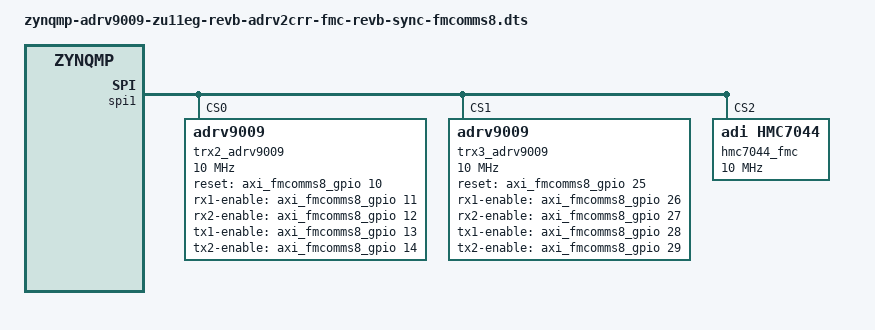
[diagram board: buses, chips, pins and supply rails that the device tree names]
// SPDX-License-Identifier: GPL-2.0
/*
 * Analog Devices ADRV2CRR-FMC using ADRV9009-ZU11EG System on Module + AD-FMCOMMS8-EBZ
 * https://wiki.analog.com/resources/eval/user-guides/adrv9009-zu11eg/adrv2crr-fmc_carrier_board
 * https://wiki.analog.com/resources/eval/user-guides/ad-fmcomms8-ebz
 * https://wiki.analog.com/resources/tools-software/linux-drivers/iio-transceiver/adrv9009
 * https://wiki.analog.com/resources/tools-software/linux-software/adrv9009_advanced_plugin
 *
 * hdl_project: <adrv9009zu11eg/adrv2crr_fmcomms8>
 * board_revision: <>
 *
 * Copyright (C) 2020 Analog Devices Inc.
 */
#include "zynqmp-adrv9009-zu11eg-revb-adrv2crr-fmc-revb-sync.dts"

&trx0_adrv9009 {
	compatible = "adrv9009-x4";
};

&axi_adrv9009_core_tx {
	compatible = "adi,axi-adrv9009-x4-tx-1.0";
};

&axi_adrv9009_adxcvr_rx {
	clocks = <&hmc7044_fmc 5>, <&hmc7044 7>;
};

&axi_adrv9009_adxcvr_rx_os {
	clocks = <&hmc7044_fmc 4>, <&hmc7044 6>;
};

&axi_adrv9009_adxcvr_tx {
	clocks = <&hmc7044_fmc 4>, <&hmc7044 6>;
};

&rx_dma_channel {
	adi,source-bus-width = <256>;
	adi,destination-bus-width = <256>;
};

&rx_obs_dma_channel {
	adi,source-bus-width = <256>;
	adi,destination-bus-width = <256>;
};

&tx_dma_channel {
	adi,source-bus-width = <256>;
};

&axi_adrv9009_tx_jesd {
	adi,converter-resolution = <16>;
	adi,converters-per-device = <16>;
	adi,control-bits-per-sample = <0>;
};

&hmc7044_fmc_car {
	hmc7044_fmc_car_c6: channel@6 {
		reg = <6>;
		adi,extended-name = "SYNC_OUT2";
		adi,divider = <3840>;   // 768000
		adi,driver-mode = <3>;
		adi,startup-mode-dynamic-enable;
		adi,high-performance-mode-disable;
		adi,driver-impedance-mode = <3>;
	};

	hmc7044_fmc_car_c8: channel@8 {
		reg = <8>;
		adi,extended-name = "REFCLK_OUT3";
		adi,divider = <24>;     // 12288000
		adi,driver-mode = <HMC7044_DRIVER_MODE_LVPECL>;
	};

	hmc7044_fmc_car_c9: channel@9 {
		reg = <9>;
		adi,extended-name = "REFCLK_OUT4";
		adi,divider = <96>;	// 3072000
		adi,driver-mode = <HMC7044_DRIVER_MODE_LVPECL>;
	};
};

&fpga_axi {
	axi_fmcomms8_gpio: gpio@86000000 {
		#gpio-cells = <2>;
		#interrupt-cells = <2>;
		clock-names = "s_axi_aclk";
		clocks = <&zynqmp_clk 71>;
		compatible = "xlnx,axi-gpio-2.0", "xlnx,xps-gpio-1.00.a";
		gpio-controller;
		interrupt-controller;
		interrupt-names = "ip2intc_irpt";
		interrupt-parent = <&gic>;
		interrupts = <0 93 4>;
		reg = <0x0 0x86000000 0x1000>;
		xlnx,all-inputs = <0x0>;
		xlnx,all-inputs-2 = <0x0>;
		xlnx,all-outputs = <0x0>;
		xlnx,all-outputs-2 = <0x0>;
		xlnx,dout-default = <0x00000000>;
		xlnx,dout-default-2 = <0x00000000>;
		xlnx,gpio-width = <0x20>;
		xlnx,gpio2-width = <0x20>;
		xlnx,interrupt-present = <0x1>;
		xlnx,is-dual = <0x1>;
		xlnx,tri-default = <0xFFFFFFFF>;
		xlnx,tri-default-2 = <0xFFFFFFFF>;
	};
};

&spi1 {
	status = "okay";
	num-cs = <8>;
	is-decoded-cs = <1>;

	trx2_adrv9009: adrv9009-phy-c@0 {
		compatible = "adrv9009";
		reg = <0>;

		#address-cells = <1>;
		#size-cells = <0>;

		/* SPI Setup */
		spi-max-frequency = <10000000>;
#if 0
		interrupt-parent = <&axi_fmcomms8_gpio>;
		interrupts = <9 1>;
#endif
		reset-gpios = <&axi_fmcomms8_gpio 10 0>;
		rx1-enable-gpios = <&axi_fmcomms8_gpio 11 0>;
		rx2-enable-gpios = <&axi_fmcomms8_gpio 12 0>;
		tx1-enable-gpios = <&axi_fmcomms8_gpio 13 0>;
		tx2-enable-gpios = <&axi_fmcomms8_gpio 14 0>;

		/* Clocks */
		clocks = <&axi_adrv9009_rx_jesd>, <&axi_adrv9009_tx_jesd>,
			<&axi_adrv9009_rx_os_jesd>, <&hmc7044_fmc 0>,
			<&hmc7044_fmc 5>, <&hmc7044_fmc 1>, <&hmc7044_fmc 8>,
			<&hmc7044_fmc 4>;

		clock-names = "jesd_rx_clk", "jesd_tx_clk", "jesd_rx_os_clk",
			"dev_clk", "fmc_clk", "sysref_dev_clk",
			"sysref_fmc_clk", "fmc2_clk";


		clock-output-names = "rx_sampl_clk", "rx_os_sampl_clk", "tx_sampl_clk";
		#clock-cells = <1>;

		/* JESD204 */

		/* JESD204 RX */
		adi,jesd204-framer-a-bank-id = <1>;
		adi,jesd204-framer-a-device-id = <0>;
		adi,jesd204-framer-a-lane0-id = <0>;
		adi,jesd204-framer-a-m = <4>;
		adi,jesd204-framer-a-k = <32>;
		adi,jesd204-framer-a-f = <4>;
		adi,jesd204-framer-a-np = <16>;
		adi,jesd204-framer-a-scramble = <1>;
		adi,jesd204-framer-a-external-sysref = <1>;
		adi,jesd204-framer-a-serializer-lanes-enabled = <0x03>;
		adi,jesd204-framer-a-serializer-lane-crossbar = <0xE4>;
		adi,jesd204-framer-a-lmfc-offset = <15>;
		adi,jesd204-framer-a-new-sysref-on-relink = <0>;
		adi,jesd204-framer-a-syncb-in-select = <0>;
		adi,jesd204-framer-a-over-sample = <0>;
		adi,jesd204-framer-a-syncb-in-lvds-mode = <1>;
		adi,jesd204-framer-a-syncb-in-lvds-pn-invert = <0>;
		adi,jesd204-framer-a-enable-manual-lane-xbar = <0>;

		/* JESD204 OBS */
		adi,jesd204-framer-b-bank-id = <0>;
		adi,jesd204-framer-b-device-id = <0>;
		adi,jesd204-framer-b-lane0-id = <0>;
		adi,jesd204-framer-b-m = <2>;
		adi,jesd204-framer-b-k = <32>;
		adi,jesd204-framer-b-f = <4>;
		adi,jesd204-framer-b-np = <16>;
		adi,jesd204-framer-b-scramble = <1>;
		adi,jesd204-framer-b-external-sysref = <1>;
		adi,jesd204-framer-b-serializer-lanes-enabled = <0x0C>;
		adi,jesd204-framer-b-serializer-lane-crossbar = <0xE4>;
		adi,jesd204-framer-b-lmfc-offset = <15>;
		adi,jesd204-framer-b-new-sysref-on-relink = <0>;
		adi,jesd204-framer-b-syncb-in-select = <1>;
		adi,jesd204-framer-b-over-sample = <0>;
		adi,jesd204-framer-b-syncb-in-lvds-mode = <1>;
		adi,jesd204-framer-b-syncb-in-lvds-pn-invert = <0>;
		adi,jesd204-framer-b-enable-manual-lane-xbar = <0>;

		/* JESD204 TX */
		adi,jesd204-deframer-a-bank-id = <0>;
		adi,jesd204-deframer-a-device-id = <0>;
		adi,jesd204-deframer-a-lane0-id = <0>;
		adi,jesd204-deframer-a-m = <4>;
		adi,jesd204-deframer-a-k = <32>;
		adi,jesd204-deframer-a-scramble = <1>;
		adi,jesd204-deframer-a-external-sysref = <1>;
		adi,jesd204-deframer-a-deserializer-lanes-enabled = <0x0F>;
		adi,jesd204-deframer-a-deserializer-lane-crossbar = <0xE4>;
		adi,jesd204-deframer-a-lmfc-offset = <1>;
		adi,jesd204-deframer-a-new-sysref-on-relink = <0>;
		adi,jesd204-deframer-a-syncb-out-select = <0>;
		adi,jesd204-deframer-a-np = <16>;
		adi,jesd204-deframer-a-syncb-out-lvds-mode = <1>;
		adi,jesd204-deframer-a-syncb-out-lvds-pn-invert = <0>;
		adi,jesd204-deframer-a-syncb-out-cmos-slew-rate = <0>;
		adi,jesd204-deframer-a-syncb-out-cmos-drive-level = <0>;
		adi,jesd204-deframer-a-enable-manual-lane-xbar = <0>;

		adi,jesd204-ser-amplitude = <15>;
		adi,jesd204-ser-pre-emphasis = <1>;
		adi,jesd204-ser-invert-lane-polarity = <0>;
		adi,jesd204-des-invert-lane-polarity = <0>;
		adi,jesd204-des-eq-setting = <1>;
		adi,jesd204-sysref-lvds-mode = <1>;
		adi,jesd204-sysref-lvds-pn-invert = <0>;

		/* RX */

		adi,rx-profile-rx-fir-gain_db = <(-6)>;
		adi,rx-profile-rx-fir-num-fir-coefs = <48>;
		adi,rx-profile-rx-fir-coefs = /bits/ 16 <(-8) (-22) (32) (50) (-68) (-106) (141) (199) (-258) (-352) (430) (572) (-691) (-903) (1069) (1392) (-1644) (-2172) (2569) (3574) (-4364) (-7129) (9355) (31095) (31095) (9355) (-7129) (-4364) (3574) (2569) (-2172) (-1644) (1392) (1069) (-903) (-691) (572) (430) (-352) (-258) (199) (141) (-106) (-68) (50) (32) (-22) (-8)>;

		adi,rx-profile-rx-fir-decimation = <2>;
		adi,rx-profile-rx-dec5-decimation = <4>;
		adi,rx-profile-rhb1-decimation = <2>;
		adi,rx-profile-rx-output-rate_khz = <122880>;
		adi,rx-profile-rf-bandwidth_hz = <100000000>;
		adi,rx-profile-rx-bbf3d-bcorner_khz = <100000>;
		adi,rx-profile-rx-adc-profile = /bits/ 16 <265 146 181 90 1280 366 1257 27 1258 17 718 39 48 46 27 161 0 0 0 0 40 0 7 6 42 0 7 6 42 0 25 27 0 0 25 27 0 0 165 44 31 905>;
		adi,rx-profile-rx-ddc-mode = <0>;

		adi,rx-nco-shifter-band-a-input-band-width_khz = <0>;
		adi,rx-nco-shifter-band-a-input-center-freq_khz = <0>;
		adi,rx-nco-shifter-band-a-nco1-freq_khz = <0>;
		adi,rx-nco-shifter-band-a-nco2-freq_khz = <0>;
		adi,rx-nco-shifter-band-binput-band-width_khz = <0>;
		adi,rx-nco-shifter-band-binput-center-freq_khz = <0>;
		adi,rx-nco-shifter-band-bnco1-freq_khz = <0>;
		adi,rx-nco-shifter-band-bnco2-freq_khz = <0>;

		adi,rx-gain-control-gain-mode = <0>;
		adi,rx-gain-control-rx1-gain-index = <255>;
		adi,rx-gain-control-rx2-gain-index = <255>;
		adi,rx-gain-control-rx1-max-gain-index = <255>;
		adi,rx-gain-control-rx1-min-gain-index = <195>;
		adi,rx-gain-control-rx2-max-gain-index = <255>;
		adi,rx-gain-control-rx2-min-gain-index = <195>;

		adi,rx-settings-framer-sel = <0>;
		adi,rx-settings-rx-channels = <3>;

		/* ORX */

		adi,orx-profile-rx-fir-gain_db = <(-6)>;
		adi,orx-profile-rx-fir-num-fir-coefs = <48>;
		adi,orx-profile-rx-fir-coefs = /bits/ 16  <(-9) (-18) (31) (42) (-65) (-89) (132) (168) (-240) (-298) (396) (486) (-632) (-770) (968) (1163) (-1530) (-1862) (2369) (3051) (-4066) (-5983) (9689) (29830) (29830) (9689) (-5983) (-4066) (3051) (2369) (-1862) (-1530) (1163) (968) (-770) (-632) (486) (396) (-298) (-240) (168) (132) (-89) (-65) (42) (31) (-18) (-9)>;
		adi,orx-profile-rx-fir-decimation = <2>;
		adi,orx-profile-rx-dec5-decimation = <4>;
		adi,orx-profile-rhb1-decimation = <2>;
		adi,orx-profile-orx-output-rate_khz = <122880>;
		adi,orx-profile-rf-bandwidth_hz = <100000000>;
		adi,orx-profile-rx-bbf3d-bcorner_khz = <225000>;
		adi,orx-profile-orx-low-pass-adc-profile = /bits/ 16  <265 146 181 90 1280 366 1257 27 1258 17 718 39 48 46 27 161 0 0 0 0 40 0 7 6 42 0 7 6 42 0 25 27 0 0 25 27 0 0 165 44 31 905>;
		adi,orx-profile-orx-band-pass-adc-profile = /bits/ 16  <265 146 181 90 1280 366 1257 27 1258 17 718 39 48 46 27 161 0 0 0 0 40 0 7 6 42 0 7 6 42 0 25 27 0 0 25 27 0 0 165 44 31 905>;
		adi,orx-profile-orx-ddc-mode = <0>;
		adi,orx-profile-orx-merge-filter = /bits/ 16  <0 0 0 0 0 0 0 0 0 0 0 0>;

		adi,orx-gain-control-gain-mode = <0>;
		adi,orx-gain-control-orx1-gain-index = <255>;
		adi,orx-gain-control-orx2-gain-index = <255>;
		adi,orx-gain-control-orx1-max-gain-index = <255>;
		adi,orx-gain-control-orx1-min-gain-index = <195>;
		adi,orx-gain-control-orx2-max-gain-index = <255>;
		adi,orx-gain-control-orx2-min-gain-index = <195>;

		adi,obs-settings-framer-sel = <1>;
		adi,obs-settings-obs-rx-channels-enable = <3>;
		adi,obs-settings-obs-rx-lo-source = <0>;

		/* TX */

		adi,tx-profile-tx-fir-gain_db = <6>;
		adi,tx-profile-tx-fir-num-fir-coefs = <80>;
		adi,tx-profile-tx-fir-coefs = /bits/ 16  <(0) (0) (0) (1) (0) (-3) (1) (7) (-3) (-13) (7) (25) (-14) (-42) (27) (69) (-46) (-107) (74) (160) (-115) (-229) (184) (336) (-264) (-468) (382) (653) (-538) (-904) (754) (1269) (-1056) (-1842) (1486) (2879) (-2031) (-4846) (3816) (16221) (16221) (3816) (-4846) (-2031) (2879) (1486) (-1842) (-1056) (1269) (754) (-904) (-538) (653) (382) (-468) (-264) (336) (184) (-229) (-115) (160) (74) (-107) (-46) (69) (27) (-42) (-14) (25) (7) (-13) (-3) (7) (1) (-3) (0) (1) (0) (0) (0)>;

		adi,tx-profile-dac-div = <1>;

		adi,tx-profile-tx-fir-interpolation = <2>;
		adi,tx-profile-thb1-interpolation = <2>;
		adi,tx-profile-thb2-interpolation = <2>;
		adi,tx-profile-thb3-interpolation = <2>;
		adi,tx-profile-tx-int5-interpolation = <1>;
		adi,tx-profile-tx-input-rate_khz = <122880>;
		adi,tx-profile-primary-sig-bandwidth_hz = <50000000>;
		adi,tx-profile-rf-bandwidth_hz = <100000000>;
		adi,tx-profile-tx-dac3d-bcorner_khz = <187000>;
		adi,tx-profile-tx-bbf3d-bcorner_khz = <56000>;
		adi,tx-profile-loop-back-adc-profile = /bits/ 16 <265 146 181 90 1280 366 1257 27 1258 17 718 39 48 46 27 161 0 0 0 0 40 0 7 6 42 0 7 6 42 0 25 27 0 0 25 27 0 0 165 44 31 905>;

		adi,tx-settings-deframer-sel = <0>;
		adi,tx-settings-tx-channels = <3>;
		adi,tx-settings-tx-atten-step-size = <0>;
		adi,tx-settings-tx1-atten_md-b = <10000>;
		adi,tx-settings-tx2-atten_md-b = <10000>;
		adi,tx-settings-dis-tx-data-if-pll-unlock = <0>;

		/* Clocks */

		adi,dig-clocks-device-clock_khz = <245760>;
		adi,dig-clocks-clk-pll-vco-freq_khz = <9830400>;
		adi,dig-clocks-clk-pll-hs-div = <1>;
		adi,dig-clocks-rf-pll-use-external-lo = <0>;
		adi,dig-clocks-rf-pll-phase-sync-mode = <0>;

		/* AGC */

		adi,rxagc-peak-agc-under-range-low-interval_ns = <205>;
		adi,rxagc-peak-agc-under-range-mid-interval = <2>;
		adi,rxagc-peak-agc-under-range-high-interval = <4>;
		adi,rxagc-peak-apd-high-thresh = <39>;
		adi,rxagc-peak-apd-low-gain-mode-high-thresh = <36>;
		adi,rxagc-peak-apd-low-thresh = <23>;
		adi,rxagc-peak-apd-low-gain-mode-low-thresh = <19>;
		adi,rxagc-peak-apd-upper-thresh-peak-exceeded-cnt = <6>;
		adi,rxagc-peak-apd-lower-thresh-peak-exceeded-cnt = <3>;
		adi,rxagc-peak-apd-gain-step-attack = <4>;
		adi,rxagc-peak-apd-gain-step-recovery = <2>;
		adi,rxagc-peak-enable-hb2-overload = <1>;
		adi,rxagc-peak-hb2-overload-duration-cnt = <1>;
		adi,rxagc-peak-hb2-overload-thresh-cnt = <4>;
		adi,rxagc-peak-hb2-high-thresh = <181>;
		adi,rxagc-peak-hb2-under-range-low-thresh = <45>;
		adi,rxagc-peak-hb2-under-range-mid-thresh = <90>;
		adi,rxagc-peak-hb2-under-range-high-thresh = <128>;
		adi,rxagc-peak-hb2-upper-thresh-peak-exceeded-cnt = <6>;
		adi,rxagc-peak-hb2-lower-thresh-peak-exceeded-cnt = <3>;
		adi,rxagc-peak-hb2-gain-step-high-recovery = <2>;
		adi,rxagc-peak-hb2-gain-step-low-recovery = <4>;
		adi,rxagc-peak-hb2-gain-step-mid-recovery = <8>;
		adi,rxagc-peak-hb2-gain-step-attack = <4>;
		adi,rxagc-peak-hb2-overload-power-mode = <1>;
		adi,rxagc-peak-hb2-ovrg-sel = <0>;
		adi,rxagc-peak-hb2-thresh-config = <3>;

		adi,rxagc-power-power-enable-measurement = <1>;
		adi,rxagc-power-power-use-rfir-out = <1>;
		adi,rxagc-power-power-use-bbdc2 = <0>;
		adi,rxagc-power-under-range-high-power-thresh = <9>;
		adi,rxagc-power-under-range-low-power-thresh = <2>;
		adi,rxagc-power-under-range-high-power-gain-step-recovery = <4>;
		adi,rxagc-power-under-range-low-power-gain-step-recovery = <4>;
		adi,rxagc-power-power-measurement-duration = <5>;
		adi,rxagc-power-rx1-tdd-power-meas-duration = <5>;
		adi,rxagc-power-rx1-tdd-power-meas-delay = <1>;
		adi,rxagc-power-rx2-tdd-power-meas-duration = <5>;
		adi,rxagc-power-rx2-tdd-power-meas-delay = <1>;
		adi,rxagc-power-upper0-power-thresh = <2>;
		adi,rxagc-power-upper1-power-thresh = <0>;
		adi,rxagc-power-power-log-shift = <0>;

		adi,rxagc-agc-peak-wait-time = <4>;
		adi,rxagc-agc-rx1-max-gain-index = <255>;
		adi,rxagc-agc-rx1-min-gain-index = <195>;
		adi,rxagc-agc-rx2-max-gain-index = <255>;
		adi,rxagc-agc-rx2-min-gain-index = <195>;
		adi,rxagc-agc-gain-update-counter_us = <250>;
		adi,rxagc-agc-rx1-attack-delay = <10>;
		adi,rxagc-agc-rx2-attack-delay = <10>;
		adi,rxagc-agc-slow-loop-settling-delay = <16>;
		adi,rxagc-agc-low-thresh-prevent-gain = <0>;
		adi,rxagc-agc-change-gain-if-thresh-high = <1>;
		adi,rxagc-agc-peak-thresh-gain-control-mode = <1>;
		adi,rxagc-agc-reset-on-rxon = <0>;
		adi,rxagc-agc-enable-sync-pulse-for-gain-counter = <0>;
		adi,rxagc-agc-enable-ip3-optimization-thresh = <0>;
		adi,rxagc-ip3-over-range-thresh = <31>;
		adi,rxagc-ip3-over-range-thresh-index = <246>;
		adi,rxagc-ip3-peak-exceeded-cnt = <4>;
		adi,rxagc-agc-enable-fast-recovery-loop = <0>;


		/* Misc */

		adi,aux-dac-enables = <0x00>; /* Mask */

		adi,aux-dac-vref0 = <3>;
		adi,aux-dac-resolution0 = <0>;
		adi,aux-dac-values0 = <0>;
		adi,aux-dac-vref1 = <3>;
		adi,aux-dac-resolution1 = <0>;
		adi,aux-dac-values1 = <0>;
		adi,aux-dac-vref2 = <3>;
		adi,aux-dac-resolution2 = <0>;
		adi,aux-dac-values2 = <0>;
		adi,aux-dac-vref3 = <3>;
		adi,aux-dac-resolution3 = <0>;
		adi,aux-dac-values3 = <0>;
		adi,aux-dac-vref4 = <3>;
		adi,aux-dac-resolution4 = <0>;
		adi,aux-dac-values4 = <0>;
		adi,aux-dac-vref5 = <3>;
		adi,aux-dac-resolution5 = <0>;
		adi,aux-dac-values5 = <0>;
		adi,aux-dac-vref6 = <3>;
		adi,aux-dac-resolution6 = <0>;
		adi,aux-dac-values6 = <0>;
		adi,aux-dac-vref7 = <3>;
		adi,aux-dac-resolution7 = <0>;
		adi,aux-dac-values7 = <0>;
		adi,aux-dac-vref8 = <3>;
		adi,aux-dac-resolution8 = <0>;
		adi,aux-dac-values8 = <0>;
		adi,aux-dac-vref9 = <3>;
		adi,aux-dac-resolution9 = <0>;
		adi,aux-dac-values9 = <0>;
		adi,aux-dac-vref10 = <3>;
		adi,aux-dac-resolution10 = <0>;
		adi,aux-dac-values10 = <0>;
		adi,aux-dac-vref11 = <3>;
		adi,aux-dac-resolution11 = <0>;
		adi,aux-dac-values11 = <0>;

		adi,arm-gpio-config-orx1-tx-sel0-pin-gpio-pin-sel = <0>;
		adi,arm-gpio-config-orx1-tx-sel0-pin-polarity = <0>;
		adi,arm-gpio-config-orx1-tx-sel0-pin-enable = <0>;

		adi,arm-gpio-config-orx1-tx-sel1-pin-gpio-pin-sel = <0>;
		adi,arm-gpio-config-orx1-tx-sel1-pin-polarity = <0>;
		adi,arm-gpio-config-orx1-tx-sel1-pin-enable = <0>;
		adi,arm-gpio-config-orx2-tx-sel0-pin-gpio-pin-sel = <0>;
		adi,arm-gpio-config-orx2-tx-sel0-pin-polarity = <0>;
		adi,arm-gpio-config-orx2-tx-sel0-pin-enable = <0>;

		adi,arm-gpio-config-orx2-tx-sel1-pin-gpio-pin-sel = <0>;
		adi,arm-gpio-config-orx2-tx-sel1-pin-polarity = <0>;
		adi,arm-gpio-config-orx2-tx-sel1-pin-enable = <0>;
		adi,arm-gpio-config-en-tx-tracking-cals-gpio-pin-sel = <0>;
		adi,arm-gpio-config-en-tx-tracking-cals-polarity = <0>;
		adi,arm-gpio-config-en-tx-tracking-cals-enable = <0>;

		adi,orx-lo-cfg-disable-aux-pll-relocking = <0>;
		adi,orx-lo-cfg-gpio-select = <19>;

		adi,fhm-config-fhm-gpio-pin = <0>;
		adi,fhm-config-fhm-min-freq_mhz = <100>;
		adi,fhm-config-fhm-max-freq_mhz = <100>;

		adi,fhm-mode-fhm-enable = <0>;
		adi,fhm-mode-enable-mcs-sync = <0>;
		adi,fhm-mode-fhm-trigger-mode = <0>;
		adi,fhm-mode-fhm-exit-mode = <0>;
		adi,fhm-mode-fhm-init-frequency_hz = <2450000000>;

		adi,rx1-gain-ctrl-pin-inc-step = <1>;
		adi,rx1-gain-ctrl-pin-dec-step = <1>;
		adi,rx1-gain-ctrl-pin-rx-gain-inc-pin = <0>;
		adi,rx1-gain-ctrl-pin-rx-gain-dec-pin = <1>;
		adi,rx1-gain-ctrl-pin-enable = <0>;

		adi,rx2-gain-ctrl-pin-inc-step = <1>;
		adi,rx2-gain-ctrl-pin-dec-step = <1>;
		adi,rx2-gain-ctrl-pin-rx-gain-inc-pin = <3>;
		adi,rx2-gain-ctrl-pin-rx-gain-dec-pin = <4>;
		adi,rx2-gain-ctrl-pin-enable = <0>;

		adi,tx1-atten-ctrl-pin-step-size = <0>;
		adi,tx1-atten-ctrl-pin-tx-atten-inc-pin = <4>;
		adi,tx1-atten-ctrl-pin-tx-atten-dec-pin = <5>;
		adi,tx1-atten-ctrl-pin-enable = <0>;

		adi,tx2-atten-ctrl-pin-step-size = <0>;
		adi,tx2-atten-ctrl-pin-tx-atten-inc-pin = <6>;
		adi,tx2-atten-ctrl-pin-tx-atten-dec-pin = <7>;
		adi,tx2-atten-ctrl-pin-enable = <0>;

		adi,tx-pa-protection-avg-duration = <3>;
		adi,tx-pa-protection-tx-atten-step = <2>;
		adi,tx-pa-protection-tx1-power-threshold = <4096>;
		adi,tx-pa-protection-tx2-power-threshold = <4096>;
		adi,tx-pa-protection-peak-count = <4>;
		adi,tx-pa-protection-tx1-peak-threshold = <130>;
		adi,tx-pa-protection-tx2-peak-threshold = <130>;
	};

	trx3_adrv9009: adrv9009-phy-d@1 {
		compatible = "adrv9009";
		reg = <1>;

		#address-cells = <1>;
		#size-cells = <0>;

		/* SPI Setup */
		spi-max-frequency = <10000000>;
#if 0
		interrupt-parent = <&axi_fmcomms8_gpio>;
		interrupts = <24 1>;
#endif
		reset-gpios = <&axi_fmcomms8_gpio 25 0>;
		rx1-enable-gpios = <&axi_fmcomms8_gpio 26 0>;
		rx2-enable-gpios = <&axi_fmcomms8_gpio 27 0>;
		tx1-enable-gpios = <&axi_fmcomms8_gpio 28 0>;
		tx2-enable-gpios = <&axi_fmcomms8_gpio 29 0>;

		/* Clocks */
		clocks = <&axi_adrv9009_rx_jesd>, <&axi_adrv9009_tx_jesd>,
			<&axi_adrv9009_rx_os_jesd>, <&hmc7044_fmc 2>,
			<&hmc7044_fmc 5>, <&hmc7044_fmc 3>, <&hmc7044_fmc 9>,
			<&hmc7044_fmc 4>;

		clock-names = "jesd_rx_clk", "jesd_tx_clk", "jesd_rx_os_clk",
			"dev_clk", "fmc_clk", "sysref_dev_clk",
			"sysref_fmc_clk", "fmc2_clk";

		clock-output-names = "rx_sampl_clk", "rx_os_sampl_clk", "tx_sampl_clk";
		#clock-cells = <1>;

		/* JESD204 */

		/* JESD204 RX */
		adi,jesd204-framer-a-bank-id = <1>;
		adi,jesd204-framer-a-device-id = <0>;
		adi,jesd204-framer-a-lane0-id = <0>;
		adi,jesd204-framer-a-m = <4>;
		adi,jesd204-framer-a-k = <32>;
		adi,jesd204-framer-a-f = <4>;
		adi,jesd204-framer-a-np = <16>;
		adi,jesd204-framer-a-scramble = <1>;
		adi,jesd204-framer-a-external-sysref = <1>;
		adi,jesd204-framer-a-serializer-lanes-enabled = <0x03>;
		adi,jesd204-framer-a-serializer-lane-crossbar = <0xE4>;
		adi,jesd204-framer-a-lmfc-offset = <15>;
		adi,jesd204-framer-a-new-sysref-on-relink = <0>;
		adi,jesd204-framer-a-syncb-in-select = <0>;
		adi,jesd204-framer-a-over-sample = <0>;
		adi,jesd204-framer-a-syncb-in-lvds-mode = <1>;
		adi,jesd204-framer-a-syncb-in-lvds-pn-invert = <0>;
		adi,jesd204-framer-a-enable-manual-lane-xbar = <0>;

		/* JESD204 OBS */
		adi,jesd204-framer-b-bank-id = <0>;
		adi,jesd204-framer-b-device-id = <0>;
		adi,jesd204-framer-b-lane0-id = <0>;
		adi,jesd204-framer-b-m = <2>;
		adi,jesd204-framer-b-k = <32>;
		adi,jesd204-framer-b-f = <4>;
		adi,jesd204-framer-b-np = <16>;
		adi,jesd204-framer-b-scramble = <1>;
		adi,jesd204-framer-b-external-sysref = <1>;
		adi,jesd204-framer-b-serializer-lanes-enabled = <0x0C>;
		adi,jesd204-framer-b-serializer-lane-crossbar = <0xE4>;
		adi,jesd204-framer-b-lmfc-offset = <15>;
		adi,jesd204-framer-b-new-sysref-on-relink = <0>;
		adi,jesd204-framer-b-syncb-in-select = <1>;
		adi,jesd204-framer-b-over-sample = <0>;
		adi,jesd204-framer-b-syncb-in-lvds-mode = <1>;
		adi,jesd204-framer-b-syncb-in-lvds-pn-invert = <0>;
		adi,jesd204-framer-b-enable-manual-lane-xbar = <0>;

		/* JESD204 TX */
		adi,jesd204-deframer-a-bank-id = <0>;
		adi,jesd204-deframer-a-device-id = <0>;
		adi,jesd204-deframer-a-lane0-id = <0>;
		adi,jesd204-deframer-a-m = <4>;
		adi,jesd204-deframer-a-k = <32>;
		adi,jesd204-deframer-a-scramble = <1>;
		adi,jesd204-deframer-a-external-sysref = <1>;
		adi,jesd204-deframer-a-deserializer-lanes-enabled = <0x0F>;
		adi,jesd204-deframer-a-deserializer-lane-crossbar = <0xE4>;
		adi,jesd204-deframer-a-lmfc-offset = <1>;
		adi,jesd204-deframer-a-new-sysref-on-relink = <0>;
		adi,jesd204-deframer-a-syncb-out-select = <0>;
		adi,jesd204-deframer-a-np = <16>;
		adi,jesd204-deframer-a-syncb-out-lvds-mode = <1>;
		adi,jesd204-deframer-a-syncb-out-lvds-pn-invert = <0>;
		adi,jesd204-deframer-a-syncb-out-cmos-slew-rate = <0>;
		adi,jesd204-deframer-a-syncb-out-cmos-drive-level = <0>;
		adi,jesd204-deframer-a-enable-manual-lane-xbar = <0>;

		adi,jesd204-ser-amplitude = <15>;
		adi,jesd204-ser-pre-emphasis = <1>;
		adi,jesd204-ser-invert-lane-polarity = <0>;
		adi,jesd204-des-invert-lane-polarity = <0>;
		adi,jesd204-des-eq-setting = <1>;
		adi,jesd204-sysref-lvds-mode = <1>;
		adi,jesd204-sysref-lvds-pn-invert = <0>;

		/* RX */

		adi,rx-profile-rx-fir-gain_db = <(-6)>;
		adi,rx-profile-rx-fir-num-fir-coefs = <48>;
		adi,rx-profile-rx-fir-coefs = /bits/ 16 <(-8) (-22) (32) (50) (-68) (-106) (141) (199) (-258) (-352) (430) (572) (-691) (-903) (1069) (1392) (-1644) (-2172) (2569) (3574) (-4364) (-7129) (9355) (31095) (31095) (9355) (-7129) (-4364) (3574) (2569) (-2172) (-1644) (1392) (1069) (-903) (-691) (572) (430) (-352) (-258) (199) (141) (-106) (-68) (50) (32) (-22) (-8)>;

		adi,rx-profile-rx-fir-decimation = <2>;
		adi,rx-profile-rx-dec5-decimation = <4>;
		adi,rx-profile-rhb1-decimation = <2>;
		adi,rx-profile-rx-output-rate_khz = <122880>;
		adi,rx-profile-rf-bandwidth_hz = <100000000>;
		adi,rx-profile-rx-bbf3d-bcorner_khz = <100000>;
		adi,rx-profile-rx-adc-profile = /bits/ 16 <265 146 181 90 1280 366 1257 27 1258 17 718 39 48 46 27 161 0 0 0 0 40 0 7 6 42 0 7 6 42 0 25 27 0 0 25 27 0 0 165 44 31 905>;
		adi,rx-profile-rx-ddc-mode = <0>;

		adi,rx-nco-shifter-band-a-input-band-width_khz = <0>;
		adi,rx-nco-shifter-band-a-input-center-freq_khz = <0>;
		adi,rx-nco-shifter-band-a-nco1-freq_khz = <0>;
		adi,rx-nco-shifter-band-a-nco2-freq_khz = <0>;
		adi,rx-nco-shifter-band-binput-band-width_khz = <0>;
		adi,rx-nco-shifter-band-binput-center-freq_khz = <0>;
		adi,rx-nco-shifter-band-bnco1-freq_khz = <0>;
		adi,rx-nco-shifter-band-bnco2-freq_khz = <0>;

		adi,rx-gain-control-gain-mode = <0>;
		adi,rx-gain-control-rx1-gain-index = <255>;
		adi,rx-gain-control-rx2-gain-index = <255>;
		adi,rx-gain-control-rx1-max-gain-index = <255>;
		adi,rx-gain-control-rx1-min-gain-index = <195>;
		adi,rx-gain-control-rx2-max-gain-index = <255>;
		adi,rx-gain-control-rx2-min-gain-index = <195>;

		adi,rx-settings-framer-sel = <0>;
		adi,rx-settings-rx-channels = <3>;

		/* ORX */

		adi,orx-profile-rx-fir-gain_db = <(-6)>;
		adi,orx-profile-rx-fir-num-fir-coefs = <48>;
		adi,orx-profile-rx-fir-coefs = /bits/ 16  <(-9) (-18) (31) (42) (-65) (-89) (132) (168) (-240) (-298) (396) (486) (-632) (-770) (968) (1163) (-1530) (-1862) (2369) (3051) (-4066) (-5983) (9689) (29830) (29830) (9689) (-5983) (-4066) (3051) (2369) (-1862) (-1530) (1163) (968) (-770) (-632) (486) (396) (-298) (-240) (168) (132) (-89) (-65) (42) (31) (-18) (-9)>;
		adi,orx-profile-rx-fir-decimation = <2>;
		adi,orx-profile-rx-dec5-decimation = <4>;
		adi,orx-profile-rhb1-decimation = <2>;
		adi,orx-profile-orx-output-rate_khz = <122880>;
		adi,orx-profile-rf-bandwidth_hz = <100000000>;
		adi,orx-profile-rx-bbf3d-bcorner_khz = <225000>;
		adi,orx-profile-orx-low-pass-adc-profile = /bits/ 16  <265 146 181 90 1280 366 1257 27 1258 17 718 39 48 46 27 161 0 0 0 0 40 0 7 6 42 0 7 6 42 0 25 27 0 0 25 27 0 0 165 44 31 905>;
		adi,orx-profile-orx-band-pass-adc-profile = /bits/ 16  <265 146 181 90 1280 366 1257 27 1258 17 718 39 48 46 27 161 0 0 0 0 40 0 7 6 42 0 7 6 42 0 25 27 0 0 25 27 0 0 165 44 31 905>;
		adi,orx-profile-orx-ddc-mode = <0>;
		adi,orx-profile-orx-merge-filter = /bits/ 16  <0 0 0 0 0 0 0 0 0 0 0 0>;

		adi,orx-gain-control-gain-mode = <0>;
		adi,orx-gain-control-orx1-gain-index = <255>;
		adi,orx-gain-control-orx2-gain-index = <255>;
		adi,orx-gain-control-orx1-max-gain-index = <255>;
		adi,orx-gain-control-orx1-min-gain-index = <195>;
		adi,orx-gain-control-orx2-max-gain-index = <255>;
		adi,orx-gain-control-orx2-min-gain-index = <195>;

		adi,obs-settings-framer-sel = <1>;
		adi,obs-settings-obs-rx-channels-enable = <3>;
		adi,obs-settings-obs-rx-lo-source = <0>;

		/* TX */

		adi,tx-profile-tx-fir-gain_db = <6>;
		adi,tx-profile-tx-fir-num-fir-coefs = <80>;
		adi,tx-profile-tx-fir-coefs = /bits/ 16  <(0) (0) (0) (1) (0) (-3) (1) (7) (-3) (-13) (7) (25) (-14) (-42) (27) (69) (-46) (-107) (74) (160) (-115) (-229) (184) (336) (-264) (-468) (382) (653) (-538) (-904) (754) (1269) (-1056) (-1842) (1486) (2879) (-2031) (-4846) (3816) (16221) (16221) (3816) (-4846) (-2031) (2879) (1486) (-1842) (-1056) (1269) (754) (-904) (-538) (653) (382) (-468) (-264) (336) (184) (-229) (-115) (160) (74) (-107) (-46) (69) (27) (-42) (-14) (25) (7) (-13) (-3) (7) (1) (-3) (0) (1) (0) (0) (0)>;

		adi,tx-profile-dac-div = <1>;

		adi,tx-profile-tx-fir-interpolation = <2>;
		adi,tx-profile-thb1-interpolation = <2>;
		adi,tx-profile-thb2-interpolation = <2>;
		adi,tx-profile-thb3-interpolation = <2>;
		adi,tx-profile-tx-int5-interpolation = <1>;
		adi,tx-profile-tx-input-rate_khz = <122880>;
		adi,tx-profile-primary-sig-bandwidth_hz = <50000000>;
		adi,tx-profile-rf-bandwidth_hz = <100000000>;
		adi,tx-profile-tx-dac3d-bcorner_khz = <187000>;
		adi,tx-profile-tx-bbf3d-bcorner_khz = <56000>;
		adi,tx-profile-loop-back-adc-profile = /bits/ 16 <265 146 181 90 1280 366 1257 27 1258 17 718 39 48 46 27 161 0 0 0 0 40 0 7 6 42 0 7 6 42 0 25 27 0 0 25 27 0 0 165 44 31 905>;

		adi,tx-settings-deframer-sel = <0>;
		adi,tx-settings-tx-channels = <3>;
		adi,tx-settings-tx-atten-step-size = <0>;
		adi,tx-settings-tx1-atten_md-b = <10000>;
		adi,tx-settings-tx2-atten_md-b = <10000>;
		adi,tx-settings-dis-tx-data-if-pll-unlock = <0>;

		/* Clocks */

		adi,dig-clocks-device-clock_khz = <245760>;
		adi,dig-clocks-clk-pll-vco-freq_khz = <9830400>;
		adi,dig-clocks-clk-pll-hs-div = <1>;
		adi,dig-clocks-rf-pll-use-external-lo = <0>;
		adi,dig-clocks-rf-pll-phase-sync-mode = <0>;

		/* AGC */

		adi,rxagc-peak-agc-under-range-low-interval_ns = <205>;
		adi,rxagc-peak-agc-under-range-mid-interval = <2>;
		adi,rxagc-peak-agc-under-range-high-interval = <4>;
		adi,rxagc-peak-apd-high-thresh = <39>;
		adi,rxagc-peak-apd-low-gain-mode-high-thresh = <36>;
		adi,rxagc-peak-apd-low-thresh = <23>;
		adi,rxagc-peak-apd-low-gain-mode-low-thresh = <19>;
		adi,rxagc-peak-apd-upper-thresh-peak-exceeded-cnt = <6>;
		adi,rxagc-peak-apd-lower-thresh-peak-exceeded-cnt = <3>;
		adi,rxagc-peak-apd-gain-step-attack = <4>;
		adi,rxagc-peak-apd-gain-step-recovery = <2>;
		adi,rxagc-peak-enable-hb2-overload = <1>;
		adi,rxagc-peak-hb2-overload-duration-cnt = <1>;
		adi,rxagc-peak-hb2-overload-thresh-cnt = <4>;
		adi,rxagc-peak-hb2-high-thresh = <181>;
		adi,rxagc-peak-hb2-under-range-low-thresh = <45>;
		adi,rxagc-peak-hb2-under-range-mid-thresh = <90>;
		adi,rxagc-peak-hb2-under-range-high-thresh = <128>;
		adi,rxagc-peak-hb2-upper-thresh-peak-exceeded-cnt = <6>;
		adi,rxagc-peak-hb2-lower-thresh-peak-exceeded-cnt = <3>;
		adi,rxagc-peak-hb2-gain-step-high-recovery = <2>;
		adi,rxagc-peak-hb2-gain-step-low-recovery = <4>;
		adi,rxagc-peak-hb2-gain-step-mid-recovery = <8>;
		adi,rxagc-peak-hb2-gain-step-attack = <4>;
		adi,rxagc-peak-hb2-overload-power-mode = <1>;
		adi,rxagc-peak-hb2-ovrg-sel = <0>;
		adi,rxagc-peak-hb2-thresh-config = <3>;

		adi,rxagc-power-power-enable-measurement = <1>;
		adi,rxagc-power-power-use-rfir-out = <1>;
		adi,rxagc-power-power-use-bbdc2 = <0>;
		adi,rxagc-power-under-range-high-power-thresh = <9>;
		adi,rxagc-power-under-range-low-power-thresh = <2>;
		adi,rxagc-power-under-range-high-power-gain-step-recovery = <4>;
		adi,rxagc-power-under-range-low-power-gain-step-recovery = <4>;
		adi,rxagc-power-power-measurement-duration = <5>;
		adi,rxagc-power-rx1-tdd-power-meas-duration = <5>;
		adi,rxagc-power-rx1-tdd-power-meas-delay = <1>;
		adi,rxagc-power-rx2-tdd-power-meas-duration = <5>;
		adi,rxagc-power-rx2-tdd-power-meas-delay = <1>;
		adi,rxagc-power-upper0-power-thresh = <2>;
		adi,rxagc-power-upper1-power-thresh = <0>;
		adi,rxagc-power-power-log-shift = <0>;

		adi,rxagc-agc-peak-wait-time = <4>;
		adi,rxagc-agc-rx1-max-gain-index = <255>;
		adi,rxagc-agc-rx1-min-gain-index = <195>;
		adi,rxagc-agc-rx2-max-gain-index = <255>;
		adi,rxagc-agc-rx2-min-gain-index = <195>;
		adi,rxagc-agc-gain-update-counter_us = <250>;
		adi,rxagc-agc-rx1-attack-delay = <10>;
		adi,rxagc-agc-rx2-attack-delay = <10>;
		adi,rxagc-agc-slow-loop-settling-delay = <16>;
		adi,rxagc-agc-low-thresh-prevent-gain = <0>;
		adi,rxagc-agc-change-gain-if-thresh-high = <1>;
		adi,rxagc-agc-peak-thresh-gain-control-mode = <1>;
		adi,rxagc-agc-reset-on-rxon = <0>;
		adi,rxagc-agc-enable-sync-pulse-for-gain-counter = <0>;
		adi,rxagc-agc-enable-ip3-optimization-thresh = <0>;
		adi,rxagc-ip3-over-range-thresh = <31>;
		adi,rxagc-ip3-over-range-thresh-index = <246>;
		adi,rxagc-ip3-peak-exceeded-cnt = <4>;
		adi,rxagc-agc-enable-fast-recovery-loop = <0>;


		/* Misc */

		adi,aux-dac-enables = <0x00>; /* Mask */

		adi,aux-dac-vref0 = <3>;
		adi,aux-dac-resolution0 = <0>;
		adi,aux-dac-values0 = <0>;
		adi,aux-dac-vref1 = <3>;
		adi,aux-dac-resolution1 = <0>;
		adi,aux-dac-values1 = <0>;
		adi,aux-dac-vref2 = <3>;
		adi,aux-dac-resolution2 = <0>;
		adi,aux-dac-values2 = <0>;
		adi,aux-dac-vref3 = <3>;
		adi,aux-dac-resolution3 = <0>;
		adi,aux-dac-values3 = <0>;
		adi,aux-dac-vref4 = <3>;
		adi,aux-dac-resolution4 = <0>;
		adi,aux-dac-values4 = <0>;
		adi,aux-dac-vref5 = <3>;
		adi,aux-dac-resolution5 = <0>;
		adi,aux-dac-values5 = <0>;
		adi,aux-dac-vref6 = <3>;
		adi,aux-dac-resolution6 = <0>;
		adi,aux-dac-values6 = <0>;
		adi,aux-dac-vref7 = <3>;
		adi,aux-dac-resolution7 = <0>;
		adi,aux-dac-values7 = <0>;
		adi,aux-dac-vref8 = <3>;
		adi,aux-dac-resolution8 = <0>;
		adi,aux-dac-values8 = <0>;
		adi,aux-dac-vref9 = <3>;
		adi,aux-dac-resolution9 = <0>;
		adi,aux-dac-values9 = <0>;
		adi,aux-dac-vref10 = <3>;
		adi,aux-dac-resolution10 = <0>;
		adi,aux-dac-values10 = <0>;
		adi,aux-dac-vref11 = <3>;
		adi,aux-dac-resolution11 = <0>;
		adi,aux-dac-values11 = <0>;

		adi,arm-gpio-config-orx1-tx-sel0-pin-gpio-pin-sel = <0>;
		adi,arm-gpio-config-orx1-tx-sel0-pin-polarity = <0>;
		adi,arm-gpio-config-orx1-tx-sel0-pin-enable = <0>;

		adi,arm-gpio-config-orx1-tx-sel1-pin-gpio-pin-sel = <0>;
		adi,arm-gpio-config-orx1-tx-sel1-pin-polarity = <0>;
		adi,arm-gpio-config-orx1-tx-sel1-pin-enable = <0>;
		adi,arm-gpio-config-orx2-tx-sel0-pin-gpio-pin-sel = <0>;
		adi,arm-gpio-config-orx2-tx-sel0-pin-polarity = <0>;
		adi,arm-gpio-config-orx2-tx-sel0-pin-enable = <0>;

		adi,arm-gpio-config-orx2-tx-sel1-pin-gpio-pin-sel = <0>;
		adi,arm-gpio-config-orx2-tx-sel1-pin-polarity = <0>;
		adi,arm-gpio-config-orx2-tx-sel1-pin-enable = <0>;
		adi,arm-gpio-config-en-tx-tracking-cals-gpio-pin-sel = <0>;
		adi,arm-gpio-config-en-tx-tracking-cals-polarity = <0>;
		adi,arm-gpio-config-en-tx-tracking-cals-enable = <0>;

		adi,orx-lo-cfg-disable-aux-pll-relocking = <0>;
		adi,orx-lo-cfg-gpio-select = <19>;

		adi,fhm-config-fhm-gpio-pin = <0>;
		adi,fhm-config-fhm-min-freq_mhz = <100>;
		adi,fhm-config-fhm-max-freq_mhz = <100>;

		adi,fhm-mode-fhm-enable = <0>;
		adi,fhm-mode-enable-mcs-sync = <0>;
		adi,fhm-mode-fhm-trigger-mode = <0>;
		adi,fhm-mode-fhm-exit-mode = <0>;
		adi,fhm-mode-fhm-init-frequency_hz = <2450000000>;

		adi,rx1-gain-ctrl-pin-inc-step = <1>;
		adi,rx1-gain-ctrl-pin-dec-step = <1>;
		adi,rx1-gain-ctrl-pin-rx-gain-inc-pin = <0>;
		adi,rx1-gain-ctrl-pin-rx-gain-dec-pin = <1>;
		adi,rx1-gain-ctrl-pin-enable = <0>;

		adi,rx2-gain-ctrl-pin-inc-step = <1>;
		adi,rx2-gain-ctrl-pin-dec-step = <1>;
		adi,rx2-gain-ctrl-pin-rx-gain-inc-pin = <3>;
		adi,rx2-gain-ctrl-pin-rx-gain-dec-pin = <4>;
		adi,rx2-gain-ctrl-pin-enable = <0>;

		adi,tx1-atten-ctrl-pin-step-size = <0>;
		adi,tx1-atten-ctrl-pin-tx-atten-inc-pin = <4>;
		adi,tx1-atten-ctrl-pin-tx-atten-dec-pin = <5>;
		adi,tx1-atten-ctrl-pin-enable = <0>;

		adi,tx2-atten-ctrl-pin-step-size = <0>;
		adi,tx2-atten-ctrl-pin-tx-atten-inc-pin = <6>;
		adi,tx2-atten-ctrl-pin-tx-atten-dec-pin = <7>;
		adi,tx2-atten-ctrl-pin-enable = <0>;

		adi,tx-pa-protection-avg-duration = <3>;
		adi,tx-pa-protection-tx-atten-step = <2>;
		adi,tx-pa-protection-tx1-power-threshold = <4096>;
		adi,tx-pa-protection-tx2-power-threshold = <4096>;
		adi,tx-pa-protection-peak-count = <4>;
		adi,tx-pa-protection-tx1-peak-threshold = <130>;
		adi,tx-pa-protection-tx2-peak-threshold = <130>;
	};

	hmc7044_fmc: hmc7044-fmc@2 {
		#address-cells = <1>;
		#size-cells = <0>;
		#clock-cells = <1>;
		compatible = "adi,hmc7044";
		reg = <2>;
		spi-max-frequency = <10000000>;

		clocks = <&hmc7044_fmc_car 9>;
		clock-names = "clkin1";

		adi,pll1-clkin-frequencies = <30720000 122880000 0 0>;
		adi,pll1-ref-prio-ctrl = <0xE5>; /* prefer CLKIN1 */

		adi,clkin0-buffer-mode  = <0x09>;
		adi,clkin1-buffer-mode  = <0x0b>; //100term, lvpecl term
		adi,sync-pin-mode = <1>;

		adi,pll1-loop-bandwidth-hz = <200>;
		adi,pfd1-maximum-limit-frequency-hz = <30720000>;
		adi,pll1-charge-pump-current-ua = <1920>;

		adi,vcxo-frequency = <122880000>;

		adi,pll2-output-frequency = <2949120000>;

		adi,sysref-timer-divider = <3840>;
		adi,pulse-generator-mode = <7>;

		adi,oscin-buffer-mode = <0x15>;

		adi,gpi-controls = <0x00 0x00 0x00 0x11>;
		adi,gpo-controls = <0x1f 0x2b 0x00 0x00>;

		adi,high-performance-mode-clock-dist-enable;
		adi,high-performance-mode-pll-vco-enable;

		clock-output-names =
			"hmc7044_out0_DEV_REFCLK_C", "hmc7044_out1_DEV_SYSREF_C",
			"hmc7044_out2_DEV_REFCLK_D", "hmc7044_out3_DEV_SYSREF_D",
			"hmc7044_out4_JESD_REFCLK_TX_OBS_CD", "hmc7044_out5_JESD_REFCLK_RX_CD",
			"hmc7044_out6_FPGA_SYSREF_TX_OBS_CD","hmc7044_out7_FPGA_SYSREF_RX_CD",
			"hmc7044_out8_CORE_CLK_TX_OBS_CD", "hmc7044_out9_CORE_CLK_RX_CD",
			"hmc7044_out10", "hmc7044_out11",
			"hmc7044_out12", "hmc7044_out13";

		hmc7044_fmc_c0: channel@0 {
			reg = <0>;
			adi,extended-name = "DEV_REFCLK_C";
			adi,divider = <12>;	// 245760000
			adi,driver-mode = <HMC7044_DRIVER_MODE_LVDS>;	// LVDS
			adi,coarse-digital-delay = <15>;
		};
		hmc7044_fmc_c1: channel@1 {
			reg = <1>;
			adi,extended-name = "DEV_SYSREF_C";
			adi,divider = <3840>;	// 768000
			adi,driver-mode = <HMC7044_DRIVER_MODE_LVPECL>;	// LVPECL
			adi,startup-mode-dynamic-enable;
			adi,high-performance-mode-disable;
			adi,driver-impedance-mode = <HMC7044_DRIVER_IMPEDANCE_100_OHM>;
			adi,force-mute-enable;
			adi,control0-rb4-enable;
		};
		hmc7044_fmc_c2: channel@2 {
			reg = <2>;
			adi,extended-name = "DEV_REFCLK_D";
			adi,divider = <12>;	// 245760000
			adi,driver-mode = <HMC7044_DRIVER_MODE_LVDS>;	// LVDS
			adi,coarse-digital-delay = <15>;
		};
		hmc7044_fmc_c3: channel@3 {
			reg = <3>;
			adi,extended-name = "DEV_SYSREF_D";
			adi,divider = <3840>;	// 768000
			adi,driver-mode = <HMC7044_DRIVER_MODE_LVPECL>;	// LVPECL
			adi,startup-mode-dynamic-enable;
			adi,high-performance-mode-disable;
			adi,driver-impedance-mode = <HMC7044_DRIVER_IMPEDANCE_100_OHM>;
			adi,force-mute-enable;
			adi,control0-rb4-enable;
		};
		hmc7044_fmc_c4: channel@4 {
			reg = <4>;
			adi,extended-name = "JESD_REFCLK_TX_OBS_CD";
			adi,divider = <12>;	// 245760000
			adi,driver-mode = <HMC7044_DRIVER_MODE_LVPECL>;	// LVPECL
		};
		hmc7044_fmc_c5: channel@5 {
			reg = <5>;
			adi,extended-name = "JESD_REFCLK_RX_CD";
			adi,divider = <12>;	// 245760000
			adi,driver-mode = <HMC7044_DRIVER_MODE_LVPECL>;	// LVPECL
		};
		hmc7044_fmc_c6: channel@6 {
			reg = <6>;
			adi,extended-name = "CORE_CLK_TX_OBS_CD";
			adi,divider = <24>;	// 122880000
			adi,driver-mode = <HMC7044_DRIVER_MODE_LVDS>;	// LVDS
			adi,startup-mode-dynamic-enable;
			adi,high-performance-mode-disable;
		};
		hmc7044_fmc_c7: channel@7 {
			reg = <7>;
			adi,extended-name = "CORE_CLK_RX_CD";
			adi,divider = <12>;	// 245760000
			adi,driver-mode = <HMC7044_DRIVER_MODE_LVDS>;	// LVDS
			adi,startup-mode-dynamic-enable;
			adi,high-performance-mode-disable;
		};
		hmc7044_fmc_c8: channel@8 {
			reg = <8>;
			adi,extended-name = "FPGA_SYSREF_TX_OBS_CD";
			adi,divider = <3840>;	// 768000
			adi,driver-mode = <HMC7044_DRIVER_MODE_LVDS>;	// LVDS
			adi,force-mute-enable;
			adi,control0-rb4-enable;
		};
		hmc7044_fmc_c9: channel@9 {
			reg = <9>;
			adi,extended-name = "FPGA_SYSREF_RX_CD";
			adi,divider = <3840>;	// 768000
			adi,driver-mode = <HMC7044_DRIVER_MODE_LVDS>;	// LVDS
			adi,force-mute-enable;
			adi,control0-rb4-enable;
		};
	};
};
